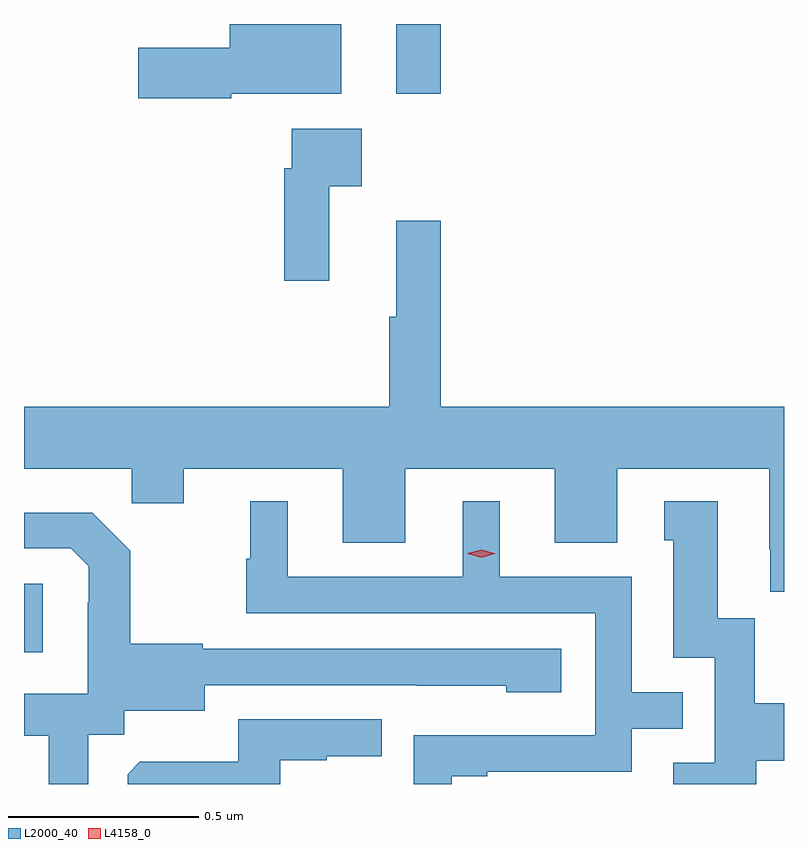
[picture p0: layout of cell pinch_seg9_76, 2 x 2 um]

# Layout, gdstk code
import gdstk
lib = gdstk.Library(unit=1e-6, precision=1e-09)
def R(c, l, rs):  # rectangles x0, y0, x1, y1
    for r in rs: c.add(gdstk.rectangle(r[:2], r[2:], *l))
def P(c, l, *ps):  # polygons
    for p in ps: c.add(gdstk.Polygon(p, *l))
L2000_40 = (2000, 40)
L4158_0 = (4158, 0)

pinch_seg9_76 = lib.new_cell('pinch_seg9_76')
R(pinch_seg9_76, L2000_40, [(1116.75,1198.602,1116.799,1198.782), (1117.73,1200.072,1117.847,1200.255)])
P(pinch_seg9_76, L2000_40, [(1117.296,1200.071),(1117.585,1200.071),(1117.585,1200.255),(1117.292,1200.255),(1117.292,1200.193),(1117.05,1200.193),(1117.05,1200.059),(1117.296,1200.059)],
  [(1117.553,1199.828),(1117.639,1199.828),(1117.639,1199.98),(1117.455,1199.98),(1117.455,1199.876),(1117.435,1199.876),(1117.435,1199.58),(1117.553,1199.58)],
  [(1118.75,1199.248),(1117.847,1199.248),(1117.847,1199.737),(1117.73,1199.737),(1117.73,1199.484),(1117.711,1199.484),(1117.711,1199.248),(1116.75,1199.248),(1116.75,1199.084),(1117.033,1199.084),(1117.033,1198.994),(1117.171,1198.994),(1117.171,1199.084),(1117.589,1199.084),(1117.589,1198.89),(1117.753,1198.89),(1117.753,1199.084),(1118.147,1199.084),(1118.147,1198.89),(1118.311,1198.89),(1118.311,1199.084),(1118.711,1199.084),(1118.711,1198.873),(1118.714,1198.873),(1118.714,1198.761),(1118.75,1198.761)],
  [(1117.875,1198.275),(1117.969,1198.275),(1117.969,1198.287),(1118.349,1198.287),(1118.349,1198.401),(1118.483,1198.401),(1118.483,1198.497),(1118.349,1198.497),(1118.349,1198.8),(1118.002,1198.8),(1118.002,1198.999),(1117.904,1198.999),(1117.904,1198.8),(1117.444,1198.8),(1117.444,1198.999),(1117.346,1198.999),(1117.346,1198.848),(1117.335,1198.848),(1117.335,1198.704),(1118.253,1198.704),(1118.253,1198.383),(1117.776,1198.383),(1117.776,1198.255),(1117.875,1198.255)],
  [(1118.677,1198.316),(1118.75,1198.316),(1118.75,1198.468),(1118.673,1198.468),(1118.673,1198.691),(1118.575,1198.691),(1118.575,1198.999),(1118.435,1198.999),(1118.435,1198.896),(1118.459,1198.896),(1118.459,1198.587),(1118.568,1198.587),(1118.568,1198.311),(1118.459,1198.311),(1118.459,1198.255),(1118.677,1198.255)],
  [(1116.919,1198.384),(1117.014,1198.384),(1117.014,1198.448),(1117.225,1198.448),(1117.225,1198.515),(1117.783,1198.515),(1117.783,1198.514),(1118.019,1198.514),(1118.019,1198.496),(1118.164,1198.496),(1118.164,1198.611),(1117.221,1198.611),(1117.221,1198.624),(1117.029,1198.624),(1117.029,1198.869),(1116.929,1198.969),(1116.75,1198.969),(1116.75,1198.875),(1116.873,1198.875),(1116.92,1198.828),(1116.92,1198.733),(1116.918,1198.733),(1116.918,1198.492),(1116.75,1198.492),(1116.75,1198.382),(1116.815,1198.382),(1116.815,1198.255),(1116.919,1198.255)],
  [(1117.424,1198.317),(1117.547,1198.317),(1117.547,1198.328),(1117.691,1198.328),(1117.691,1198.425),(1117.314,1198.425),(1117.314,1198.313),(1117.055,1198.313),(1117.023,1198.281),(1117.023,1198.255),(1117.424,1198.255)])
P(pinch_seg9_76, L4158_0, [(1117.953,1198.851),(1117.918,1198.861),(1117.917,1198.861),(1117.918,1198.862),(1117.953,1198.871),(1117.989,1198.862),(1117.989,1198.861),(1117.989,1198.861)])

lib.write_gds('pinch_seg9_76.gds')
